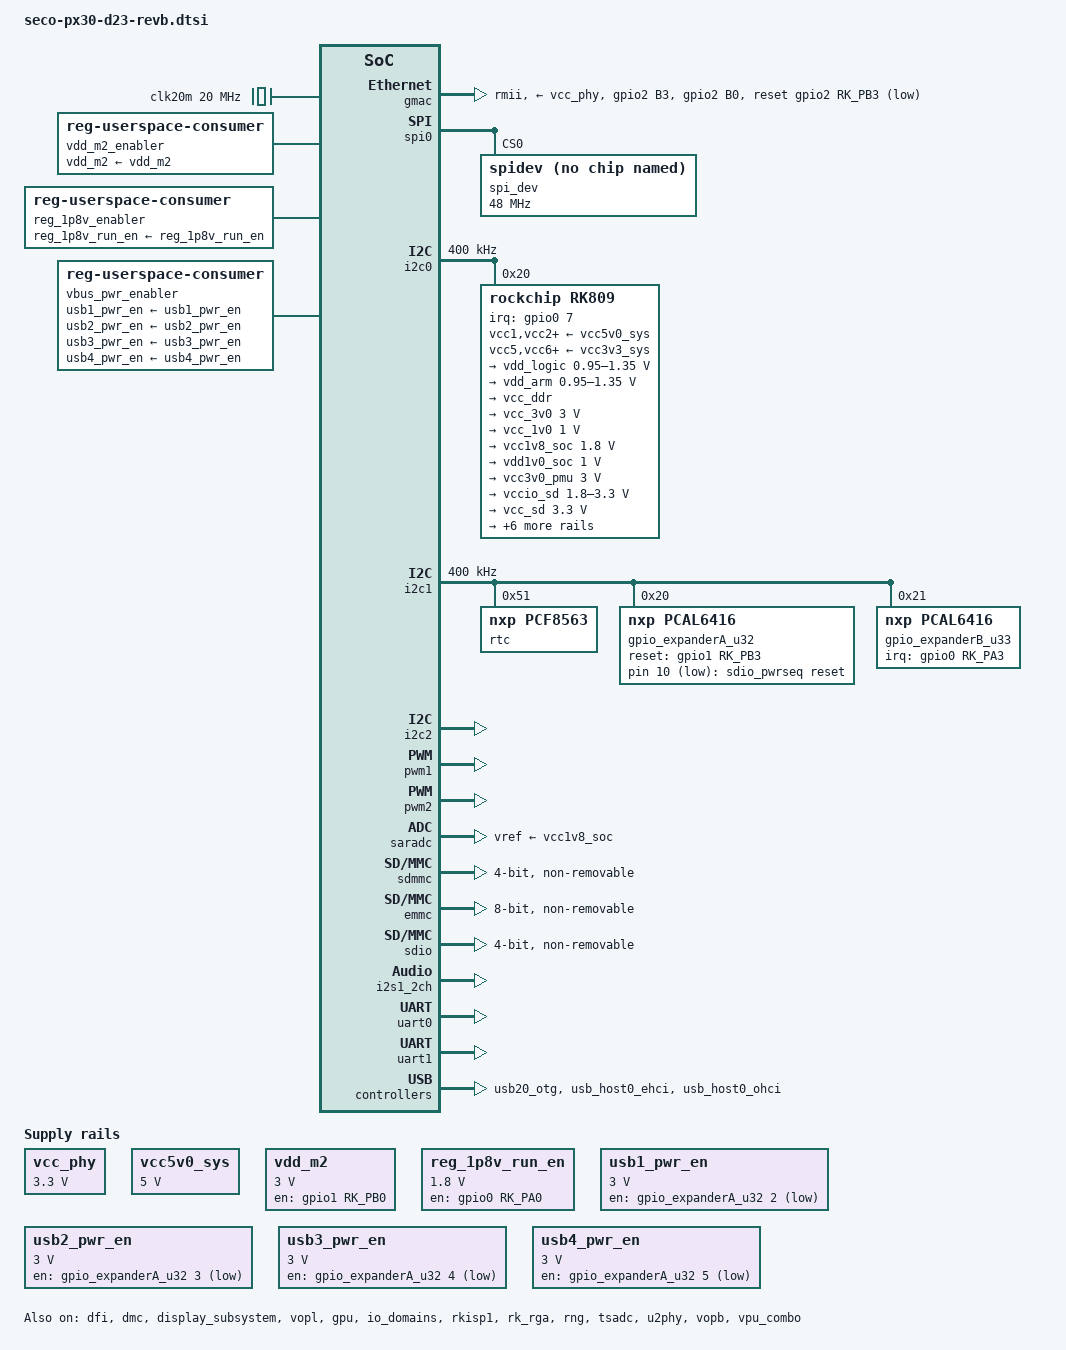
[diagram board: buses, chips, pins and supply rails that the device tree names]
// SPDX-License-Identifier: (GPL-2.0+ OR MIT)
/*
 * Copyright (c) 2018 Fuzhou Rockchip Electronics Co., Ltd
 */

/dts-v1/;
#include <dt-bindings/gpio/gpio.h>
#include <dt-bindings/pinctrl/rockchip.h>
#include <dt-bindings/input/input.h>
#include <dt-bindings/display/drm_mipi_dsi.h>
#include <dt-bindings/sensor-dev.h>
#include "seco-px30.dtsi"

/ {
	aliases {
        mmc0 = &emmc;
        mmc1 = &sdmmc;
	};

	fiq-debugger {
		compatible = "rockchip,fiq-debugger";
		rockchip,serial-id = <2>;
		rockchip,wake-irq = <0>;
		/* If enable uart uses irq instead of fiq */
		rockchip,irq-mode-enable = <0>;
		rockchip,baudrate = <115200>;  /* Only 115200 and 1500000 */
		interrupts = <GIC_SPI 127 IRQ_TYPE_LEVEL_LOW>;
		pinctrl-names = "default";
		pinctrl-0 = <&uart2m1_xfer>;/*change to uart2m1*/
		status = "okay";
	};

	ramoops {
		compatible = "ramoops";
		record-size = <0x0 0x20000>;
		console-size = <0x0 0x80000>;
		ftrace-size = <0x0 0x00000>;
		pmsg-size = <0x0 0x00000>;
		memory-region = <&ramoops_mem>;
	};

	reserved-memory {
		#address-cells = <2>;
		#size-cells = <2>;
		ranges;

		drm_logo: drm-logo@00000000 {
			compatible = "rockchip,drm-logo";
			reg = <0x0 0x0 0x0 0x0>;
		};

		ramoops_mem: region@110000 {
			reg = <0x0 0x110000 0x0 0xf0000>;
			reg-names = "ramoops_mem";
		};
	};

	 clk20m: clk20m {
                compatible = "fixed-clock";
                #clock-cells = <0>;
                clock-frequency = <20000000>;
    };

	vcc_phy: vcc-phy-regulator {
		compatible = "regulator-fixed";
		regulator-name = "vcc_phy";
		regulator-always-on;
		regulator-boot-on;
		regulator-min-microvolt = <3300000>;
		regulator-max-microvolt = <3300000>;
	};

	vcc5v0_sys: vccsys {
		compatible = "regulator-fixed";
		regulator-name = "vcc5v0_sys";
		regulator-always-on;
		regulator-boot-on;
		regulator-min-microvolt = <5000000>;
		regulator-max-microvolt = <5000000>;
	};

	vdd_m2: vdd_m2 {
		compatible = "regulator-fixed";
		regulator-name = "vdd_m2";
        enable-active-high;
		regulator-always-on;
		regulator-boot-on;
		regulator-min-microvolt = <3000000>;
		regulator-max-microvolt = <3000000>;
		gpio = <&gpio1 RK_PB0 GPIO_ACTIVE_HIGH>;
	};

	reg_1p8v_run_en: reg_1p8v_run_en {
		compatible = "regulator-fixed";
		regulator-name = "reg_1p8v_run_en";
        enable-active-high;
		regulator-always-on;
		regulator-boot-on;
		regulator-min-microvolt = <1800000>;
		regulator-max-microvolt = <1800000>;
		gpio = <&gpio0 RK_PA0 GPIO_ACTIVE_HIGH>;
	};

	usb1_pwr_en: usb1_pwr_en {
		compatible = "regulator-fixed";
		regulator-boot-on;
		regulator-always-on;
		regulator-name = "usb1_pwr_en";
		regulator-min-microvolt = <3000000>;
		regulator-max-microvolt = <3000000>;
		gpio = <&gpio_expanderA_u32 2 GPIO_ACTIVE_LOW>;
	};

	usb2_pwr_en: usb2_pwr_en {
		compatible = "regulator-fixed";
		regulator-boot-on;
		regulator-always-on;
		regulator-name = "usb2_pwr_en";
		regulator-min-microvolt = <3000000>;
		regulator-max-microvolt = <3000000>;
		gpio = <&gpio_expanderA_u32 3 GPIO_ACTIVE_LOW>;
	};

	usb3_pwr_en: usb3_pwr_en {
		compatible = "regulator-fixed";
		regulator-boot-on;
		regulator-always-on;
		regulator-name = "usb3_pwr_en";
		regulator-min-microvolt = <3000000>;
		regulator-max-microvolt = <3000000>;
		gpio = <&gpio_expanderA_u32 4 GPIO_ACTIVE_LOW>;
	};

	usb4_pwr_en: usb4_pwr_en {
		compatible = "regulator-fixed";
		regulator-boot-on;
		regulator-always-on;
		regulator-name = "usb3_pwr_en";
		regulator-min-microvolt = <3000000>;
		regulator-max-microvolt = <3000000>;
		gpio = <&gpio_expanderA_u32 5 GPIO_ACTIVE_LOW>;
	};

    vdd_m2_enabler: en_vdd-m2 {
        compatible = "reg-userspace-consumer";
        regulator-name = "en_vdd-m2";
        regulator-supplies = "vdd_m2";
        vdd_m2-supply = <&vdd_m2>;
        regulator-boot-on;
    };

    reg_1p8v_enabler: reg_1p8v_enabler {
        compatible = "reg-userspace-consumer";
        regulator-name = "en_1p8v_run";
        regulator-supplies = "reg_1p8v_run_en";
        reg_1p8v_run_en-supply = <&reg_1p8v_run_en>;
        regulator-boot-on;
    };

    vbus_pwr_enabler: vbus_pwr_enabler {
        compatible = "reg-userspace-consumer";
        regulator-boot-on;
        regulator-name = "vbus_pwr_enabler";
        regulator-supplies = "usb1_pwr_en", "usb2_pwr_en", "usb3_pwr_en", "usb4_pwr_en", "hub_usb_rst";
        usb1_pwr_en-supply = <&usb1_pwr_en>;
        usb2_pwr_en-supply = <&usb2_pwr_en>;
        usb3_pwr_en-supply = <&usb3_pwr_en>;
        usb4_pwr_en-supply = <&usb4_pwr_en>;
    };

	sdio_pwrseq: sdio-pwrseq {
		compatible = "mmc-pwrseq-simple";

		/*
		 * On the module itself this is one of these (depending
		 * on the actual card populated):
		 * - SDIO_RESET_L_WL_REG_ON
		 * - PDN (power down when low)
		 */
		reset-gpios = <&gpio_expanderA_u32 10 GPIO_ACTIVE_LOW>; 
	};

	rk809_sound: rk809-sound {
		compatible = "simple-audio-card";
		simple-audio-card,format = "i2s";
		simple-audio-card,name = "rockchip,rk809-codec";
		simple-audio-card,mclk-fs = <256>;
		simple-audio-card,widgets =
			"Microphone", "Mic Jack",
			"Headphone", "Headphone Jack";
		simple-audio-card,routing =
			"Mic Jack", "MICBIAS1",
			"IN1P", "Mic Jack",
			"Headphone Jack", "HPOL",
			"Headphone Jack", "HPOR";
		simple-audio-card,cpu {
			sound-dai = <&i2s1_2ch>;
		};
		simple-audio-card,codec {
			sound-dai = <&rk809_codec>;
		};
	};
};

&bus_apll {
	bus-supply = <&vdd_logic>;
	status = "okay";
};

&cpu0 {
	cpu-supply = <&vdd_arm>;
};

&dfi {
	status = "okay";
};

&dmc {
	auto-freq-en = <0>;
	center-supply = <&vdd_logic>;
	status = "okay";
};

&lvds_in_vopb {
	status = "disabled";
};

&lvds_in_vopl {
	status = "disabled";
};

&display_subsystem {
 	status = "okay";
	ports = <&vopb_out>, <&vopl_out>;
	logo-memory-region = <&drm_logo>;

	route {
		route_lvds: route-lvds {
			status = "disabled";
			logo,uboot = "logo.bmp";
			logo,kernel = "logo_kernel.bmp";
			logo,mode = "center";
			charge_logo,mode = "center";
			connect = <&vopb_out_lvds>;
		};

		route_dsi: route-dsi {
			status = "disabled";
			logo,uboot = "logo.bmp";
			logo,kernel = "logo_kernel.bmp";
			logo,mode = "center";
			charge_logo,mode = "center";
			connect = <&vopb_out_dsi>;
		};

		route_rgb: route-rgb {
			status = "disabled";
			logo,uboot = "logo.bmp";
			logo,kernel = "logo_kernel.bmp";
			logo,mode = "center";
			charge_logo,mode = "center";
			connect = <&vopb_out_rgb>;
		};
	};
};

&vopl {
	assigned-clocks = <&cru PLL_NPLL>;
	assigned-clock-rates = <1188000000>;
};

&lvds {
	status = "disabled";
};

&rgb {
	status = "disabled";
};

&rgb_in_vopb {
	status = "disabled";
};

&rgb_in_vopl {
	status = "disabled";
};

&route_rgb {
	status = "disabled";
};

&video_phy {
	status = "disabled";
};

&route_lvds {
	status = "disabled";
};

&gmac {
	phy-supply = <&vcc_phy>;
	assigned-clocks = <&cru SCLK_GMAC>;
	assigned-clock-parents = <&gmac_clkin>;
	clock_in_out = "input";
	phy-mode = "rmii";
	pinctrl-names = "default";
	pinctrl-0 = <&rmii_pins &mac_refclk &eth_phy_pwr &eth_phy_int>;
//    interrupt-parent = <&gpio2>;
//    interrupts = <RK_PB0 IRQ_TYPE_LEVEL_LOW>;
	snps,reset-gpio = <&gpio2 RK_PB3 GPIO_ACTIVE_LOW>;
	snps,reset-active-low;
	snps,reset-delays-us = <0 100000 100000>;
	status = "okay";
};

&gpu {
	mali-supply = <&vdd_logic>;
	status = "okay";
};

&spi0 {
        status = "okay";
        max-freq = <48000000>;
		pinctrl-0 = <&spi0_clk &spi0_csn &spi0_miso &spi0_mosi>;
		pinctrl-1 = <&spi0_clk_hs &spi0_csn &spi0_miso_hs &spi0_mosi_hs>;
	    spi_dev@0 {
          status = "okay";
          compatible = "rockchip,spidev";
          reg = <0>;
          spi-max-frequency = <48000000>;
	      spi-lsb-first;
       };
};

&spi1 {
        status = "disabled";
};

&i2c0 {
	status = "okay";
	clock-frequency = <400000>;

	rk809: pmic@20 {
		compatible = "rockchip,rk809";
		reg = <0x20>;
		interrupt-parent = <&gpio0>;
		interrupts = <7 IRQ_TYPE_LEVEL_LOW>;
		pinctrl-names = "default", "pmic-sleep",
				"pmic-power-off", "pmic-reset";
		pinctrl-0 = <&pmic_int>;
		pinctrl-1 = <&soc_slppin_slp>, <&rk817_slppin_slp>;
		pinctrl-2 = <&soc_slppin_gpio>, <&rk817_slppin_pwrdn>;
		pinctrl-3 = <&soc_slppin_rst>, <&rk817_slppin_rst>;
		rockchip,system-power-controller;
		wakeup-source;
		#clock-cells = <1>;
		clock-output-names = "rk808-clkout1", "rk808-clkout2";
		//fb-inner-reg-idxs = <2>;
		/* 1: rst regs (default in codes), 0: rst the pmic */
		pmic-reset-func = <1>;

		vcc1-supply = <&vcc5v0_sys>;
		vcc2-supply = <&vcc5v0_sys>;
		vcc3-supply = <&vcc5v0_sys>;
		vcc4-supply = <&vcc5v0_sys>;
		vcc5-supply = <&vcc3v3_sys>;
		vcc6-supply = <&vcc3v3_sys>;
		vcc7-supply = <&vcc3v3_sys>;
		vcc8-supply = <&vcc3v3_sys>;
		vcc9-supply = <&vcc5v0_sys>;

		pwrkey {
			status = "okay";
		};

		pinctrl_rk8xx: pinctrl_rk8xx {
			gpio-controller;
			#gpio-cells = <2>;

			rk817_slppin_null: rk817_slppin_null {
				pins = "gpio_slp";
				function = "pin_fun0";
			};

			rk817_slppin_slp: rk817_slppin_slp {
				pins = "gpio_slp";
				function = "pin_fun1";
			};

			rk817_slppin_pwrdn: rk817_slppin_pwrdn {
				pins = "gpio_slp";
				function = "pin_fun2";
			};

			rk817_slppin_rst: rk817_slppin_rst {
				pins = "gpio_slp";
				function = "pin_fun3";
			};
		};

		regulators {
			vdd_logic: DCDC_REG1 {
				regulator-always-on;
				regulator-boot-on;
				regulator-min-microvolt = <950000>;
				regulator-max-microvolt = <1350000>;
				regulator-ramp-delay = <6001>;
				regulator-initial-mode = <0x2>;
				regulator-name = "vdd_logic";
				regulator-state-mem {
					regulator-on-in-suspend;
					regulator-suspend-microvolt = <950000>;
				};
			};

			vdd_arm: DCDC_REG2 {
				regulator-always-on;
				regulator-boot-on;
				regulator-min-microvolt = <950000>;
				regulator-max-microvolt = <1350000>;
				regulator-ramp-delay = <6001>;
				regulator-initial-mode = <0x2>;
				regulator-name = "vdd_arm";
				regulator-state-mem {
					regulator-off-in-suspend;
					regulator-suspend-microvolt = <950000>;
				};
			};

			vcc_ddr: DCDC_REG3 {
				regulator-always-on;
				regulator-boot-on;
				regulator-name = "vcc_ddr";
				regulator-initial-mode = <0x2>;
				regulator-state-mem {
					regulator-on-in-suspend;
				};
			};

			vcc_3v0: DCDC_REG4 {
				regulator-always-on;
				regulator-boot-on;
				regulator-min-microvolt = <3000000>;
				regulator-max-microvolt = <3000000>;
				regulator-initial-mode = <0x2>;
				regulator-name = "vcc_3v0";
				regulator-state-mem {
					regulator-on-in-suspend;
					regulator-suspend-microvolt = <3000000>;
				};
			};

			vcc_1v0: LDO_REG1 {
				regulator-always-on;
				regulator-boot-on;
				regulator-min-microvolt = <1000000>;
				regulator-max-microvolt = <1000000>;
				regulator-name = "vcc_1v0";
				regulator-state-mem {
					regulator-on-in-suspend;
					regulator-suspend-microvolt = <1000000>;
				};
			};

			vcc1v8_soc: LDO_REG2 {
				regulator-always-on;
				regulator-boot-on;
				regulator-min-microvolt = <1800000>;
				regulator-max-microvolt = <1800000>;

				regulator-name = "vcc1v8_soc";
				regulator-state-mem {
					regulator-on-in-suspend;
					regulator-suspend-microvolt = <1800000>;
				};
			};

			vdd1v0_soc: LDO_REG3 {
				regulator-always-on;
				regulator-boot-on;
				regulator-min-microvolt = <1000000>;
				regulator-max-microvolt = <1000000>;

				regulator-name = "vcc1v0_soc";
				regulator-state-mem {
					regulator-on-in-suspend;
					regulator-suspend-microvolt = <1000000>;
				};
			};

			vcc3v0_pmu: LDO_REG4 {
				regulator-always-on;
				regulator-boot-on;
				regulator-min-microvolt = <3000000>;
				regulator-max-microvolt = <3000000>;

				regulator-name = "vcc3v0_pmu";
				regulator-state-mem {
					regulator-on-in-suspend;
					regulator-suspend-microvolt = <3000000>;

				};
			};

			vccio_sd: LDO_REG5 {
				regulator-always-on;
				regulator-boot-on;
				regulator-min-microvolt = <1800000>;
				regulator-max-microvolt = <3300000>;/*old 3300000*/

				regulator-name = "vccio_sd";
				regulator-state-mem {
					regulator-on-in-suspend;
					regulator-suspend-microvolt = <3300000>;
				};
			};

			vcc_sd: LDO_REG6 {
				regulator-min-microvolt = <3300000>;
				regulator-max-microvolt = <3300000>;
				regulator-boot-on;
				regulator-always-on;/*add for test*/
				regulator-name = "vcc_sd";
				regulator-state-mem {
					regulator-on-in-suspend;
					regulator-suspend-microvolt = <3300000>;

				};
			};

			vcc2v8_dvp: LDO_REG7 {
				regulator-always-on;
				regulator-boot-on;
				regulator-min-microvolt = <2800000>;
				regulator-max-microvolt = <2800000>;

				regulator-name = "vcc2v8_dvp";
				regulator-state-mem {
					regulator-off-in-suspend;
					regulator-suspend-microvolt = <2800000>;
				};
			};

			vcc1v8_dvp: LDO_REG8 {
				regulator-always-on;
				regulator-boot-on;
				regulator-min-microvolt = <1800000>;
				regulator-max-microvolt = <1800000>;

				regulator-name = "vcc1v8_dvp";
				regulator-state-mem {
					regulator-on-in-suspend;
					regulator-suspend-microvolt = <1800000>;
				};
			};

			vdd1v5_dvp: LDO_REG9 {
				regulator-always-on;
				regulator-boot-on;
				regulator-min-microvolt = <1500000>;
				regulator-max-microvolt = <1500000>;

				regulator-name = "vdd1v5_dvp";
				regulator-state-mem {
					regulator-off-in-suspend;
					regulator-suspend-microvolt = <1500000>;
				};
			};

			vcc3v3_sys: DCDC_REG5 {
				regulator-always-on;
				regulator-boot-on;
				regulator-min-microvolt = <3300000>;
				regulator-max-microvolt = <3300000>;
				regulator-name = "vcc3v3_sys";
				regulator-state-mem {
					regulator-on-in-suspend;
					regulator-suspend-microvolt = <3300000>;
				};
			};

			vcc3v3_lcd: SWITCH_REG1 {
				regulator-boot-on;
				regulator-always-on;
				regulator-name = "vcc3v3_lcd";
			};

			vcc5v0_host: SWITCH_REG2 {
				regulator-always-on;
				regulator-boot-on;
				regulator-name = "vcc5v0_host";
			};
		};

		rk809_codec: codec {
			#sound-dai-cells = <0>;
			compatible = "rockchip,rk809-codec", "rockchip,rk817-codec";
			clocks = <&cru SCLK_I2S1_OUT>;
			clock-names = "mclk";
			pinctrl-names = "default";
			pinctrl-0 = <&i2s1_2ch_mclk>;
			hp-volume = <20>;
			spk-volume = <3>;
			status = "okay";
		};
	};
};

&i2c1 {
	status = "okay";
	clock-frequency = <400000>;
	/*rtc pcf8563 i2c0-->i2c1*/

	rtc@51 {
        compatible = "nxp,pcf8563";
        reg = <0x51>;
    };

	gpio_expanderA_u32: pcal6416@20 {
		compatible = "nxp,pcal6416";
		reg = <0x20>;
		pinctrl-names = "default";
		pinctrl-0 = <&pinctrl_pcal6416a_u32>;
		gpio-base = <256>;
		gpio-controller;
		#gpio-cells = <2>;
		reset-gpios = <&gpio1 RK_PB3 GPIO_ACTIVE_HIGH>;
//		interrupt-parent = <&gpio4>;
//		interrupts = <16 0x2>;
		interrupt-controller;
		#interrupt-cells = <2>;
	};
	
	gpio_expanderB_u33: pcal6416@21 {
		compatible = "nxp,pcal6416";
		reg = <0x21>;
		pinctrl-names = "default";
		pinctrl-0 = <&pinctrl_pcal6416b_u33>;
		gpio-base = <272>;
		gpio-controller;
		#gpio-cells = <2>;
//		reset-gpios = <&gpio1 RK_PB0 GPIO_ACTIVE_HIGH>;
		interrupt-parent = <&gpio0>;
		interrupts = <RK_PA3 0x2>;
		interrupt-controller;
		#interrupt-cells = <2>;
	};
};

&i2c2 {
	status = "okay";
};

&io_domains {
	status = "okay";
	vccio1-supply = <&vcc1v8_soc>;
	vccio2-supply = <&vccio_sd>;
	vccio3-supply = <&vcc_3v0>;
	vccio4-supply = <&vcc1v8_dvp>;
    vccio5-supply = <&vcc1v8_soc>;
};

&isp_mmu {
	status = "okay";
};

&rkisp1 {
	status = "okay";
};

&pmu_io_domains {
	status = "okay";
	pmuio1-supply = <&vcc3v0_pmu>;
	pmuio2-supply = <&vcc1v8_soc>; /* <&vcc3v0_pmu>;*/
};

&pwm1 {
	status = "okay";
};

&pwm2 {
	status = "okay";
};

&rk_rga {
	status = "okay";
};

&rng {
    status = "okay";
};
  
&rockchip_suspend {
	status = "okay";
	rockchip,sleep-debug-en = <1>;
};

&saradc {
	status = "okay";
	vref-supply = <&vcc1v8_soc>;
};

&sdmmc {
/*	clock-frequency = <37500000>;
	max-frequency = <37500000>;*/
	bus-width = <4>;
//	cap-mmc-highspeed;
//	cap-sd-highspeed;
	supports-sd;
    non-removable;
	card-detect-delay = <800>;
	ignore-pm-notify;
	/*cd-gpios = <&gpio2 4 GPIO_ACTIVE_HIGH>; [> CD GPIO <]*/
	sd-uhs-sdr12;
	sd-uhs-sdr25;
	vqmmc-supply = <&vccio_sd>;
	pinctrl-names = "default";
	pinctrl-0 = <&sdmmc_clk &sdmmc_cmd &sdmmc_bus4>;
	status = "okay";
};

&emmc {
	bus-width = <8>;
	cap-mmc-highspeed;
//	mmc-hs200-1_8v;
	supports-emmc;
	disable-wp;
	non-removable;
	num-slots = <1>;
	status = "okay";
};

&sdio {
	bus-width = <4>;
	sd-uhs-sdr12;
	sd-uhs-sdr25;
	sd-uhs-sdr50;
	sd-uhs-sdr104;
	mmc-hs200-1_8v;
	supports-sdio;
	ignore-pm-notify;
	keep-power-in-suspend;
	non-removable;
	cap-sdio-irq;
	mmc-pwrseq = <&sdio_pwrseq>;
	status = "okay";
};

&tsadc {
	pinctrl-names = "init", "default";
	pinctrl-0 = <&tsadc_otp_gpio>;
	pinctrl-1 = <&tsadc_otp_out>;
	status = "okay";
};

&i2s1_2ch {
	status = "okay";
	#sound-dai-cells = <0>;
};

&uart0 {
        status = "okay";
};

&uart1 {
	status = "okay";
};

/*uart2 debug change to uart2m1*/
&uart2 {
        pinctrl-names = "default";
        pinctrl-0 = <&uart2m1_xfer>;
        status = "disabled";
};

&u2phy {
	status = "okay";

	u2phy_host: host-port {
		status = "okay";
	};

	u2phy_otg: otg-port {
		status = "okay";
	};
};

&usb20_otg {
	status = "okay";
};

&usb_host0_ehci {
	status = "okay";
};

&usb_host0_ohci {
	status = "okay";
};

&vopb {
	status = "okay";
};

&vopb_mmu {
	status = "okay";
};

&vopl {
	status = "okay";
};

&vopl_mmu {
	status = "okay";
};

&vpu_combo {
	status = "okay";
};

&pinctrl {
    pinctrl-names = "default";
    pinctrl-0 = <&secod23_gpioset>;

	pmic {
		pmic_int: pmic_int {
			rockchip,pins = <0 RK_PA7 RK_FUNC_GPIO &pcfg_pull_up>;
		};

		soc_slppin_gpio: soc_slppin_gpio {
			rockchip,pins = <0 RK_PA4 RK_FUNC_GPIO &pcfg_output_low>;
		};

		soc_slppin_slp: soc_slppin_slp {
			rockchip,pins = <0 RK_PA4 RK_FUNC_1 &pcfg_pull_none>;
		};

		soc_slppin_rst: soc_slppin_rst {
			rockchip,pins = <0 RK_PA4 RK_FUNC_2 &pcfg_pull_none>;
		};
	};

  	eth_phy {
		eth_phy_pwr: eth_phy_pwr {
           rockchip,pins = <2 RK_PB3 RK_FUNC_GPIO &pcfg_pull_none>;
        };
    };

  	eth_int {
		eth_phy_int: eth_phy_int {
                rockchip,pins = <2 RK_PB0 RK_FUNC_GPIO &pcfg_input>;
        };
  	};

	i2c_pcal6416a_u32 {
		pinctrl_pcal6416a_u32: pinctrl_pcal6416a_u32 {
			rockchip,pins =
             <1 RK_PB3 RK_FUNC_GPIO &pcfg_output_low>; /* IO_EXPA_RST#  - GPIO_43 */
		};
	};

	i2c_pcal6416b_u33 {
		pinctrl_pcal6416b_u33: pinctrl_pcal6416b_u33 {
			rockchip,pins =
//             <1 RK_PB0 RK_FUNC_GPIO &pcfg_output_low>, /* IO_EXPB_RST#  - GPIO_40 */
             <0 RK_PA3 RK_FUNC_GPIO &pcfg_pull_up>; /* IO_EXPB_INT#  - GPIO_3 */
		};
	};

	i2s1 {
		i2s1_2ch_bus: i2s1-2ch-bus {
			rockchip,pins =
				<2 RK_PC1 RK_FUNC_1 &pcfg_pull_none>,
				<2 RK_PC2 RK_FUNC_1 &pcfg_pull_none>,
				<2 RK_PC4 RK_FUNC_1 &pcfg_pull_none>,
				<2 RK_PC5 RK_FUNC_1 &pcfg_pull_none>;
		};

		i2s_8ch_mclk: i2s-8ch-mclk {
				rockchip,pins = <2 RK_PC3 RK_FUNC_1 &pcfg_pull_none>;
		};
	};

	lcd_vdd_gpio {
        lcd_vdd_gpio_en: lcd_vdd_gpio_en {
           rockchip,pins = <3 RK_PA4 RK_FUNC_GPIO &pcfg_pull_up>;
        };
    };

	px30_lanxus_gpioset{
		lanxus_gpioset: lanxus-gpioset {
			rockchip,pins = <3 RK_PA6 RK_FUNC_GPIO &pcfg_output_high>;
		};
	};

	secod23_gpio {
		secod23_gpioset: secod23-gpioset {
			rockchip,pins = 
                <0 RK_PA0 RK_FUNC_GPIO &pcfg_output_high>, /* 1P8V_RUN_EN       - GPIO_0  */
                <0 RK_PA1 RK_FUNC_GPIO &pcfg_input>,       /* M2_SDIO_WAKE#     - GPIO_1  */

                <0 RK_PA2 RK_FUNC_GPIO &pcfg_input>,       /* EC_IRQ#           - GPIO_2   */

                <0 RK_PA5 RK_FUNC_GPIO &pcfg_input>,       /* TOUCH_INT#        - GPIO_5  */

                <0 RK_PB6 RK_FUNC_GPIO &pcfg_input>,       /* HDMI_INT#         - GPIO_14 */
                <0 RK_PB7 RK_FUNC_GPIO &pcfg_output_high>, /* EC_RST#           - GPIO_15  */

                <0 RK_PC1 RK_FUNC_GPIO &pcfg_input>,       /* M2_UART_WAKE#     - GPIO_17 */

                <1 RK_PB0 RK_FUNC_GPIO &pcfg_output_high>, /* +3V3_MOD_EN       - GPIO_40 */

                <0 RK_PC4 RK_FUNC_1    &pcfg_output_high>; /* CLKOUT_32K  */
		};
	};
};

/* DON'T PUT ANYTHING BELOW HERE.  PUT IT ABOVE PINCTRL */
/* DON'T PUT ANYTHING BELOW HERE.  PUT IT ABOVE PINCTRL */
/* DON'T PUT ANYTHING BELOW HERE.  PUT IT ABOVE PINCTRL */

